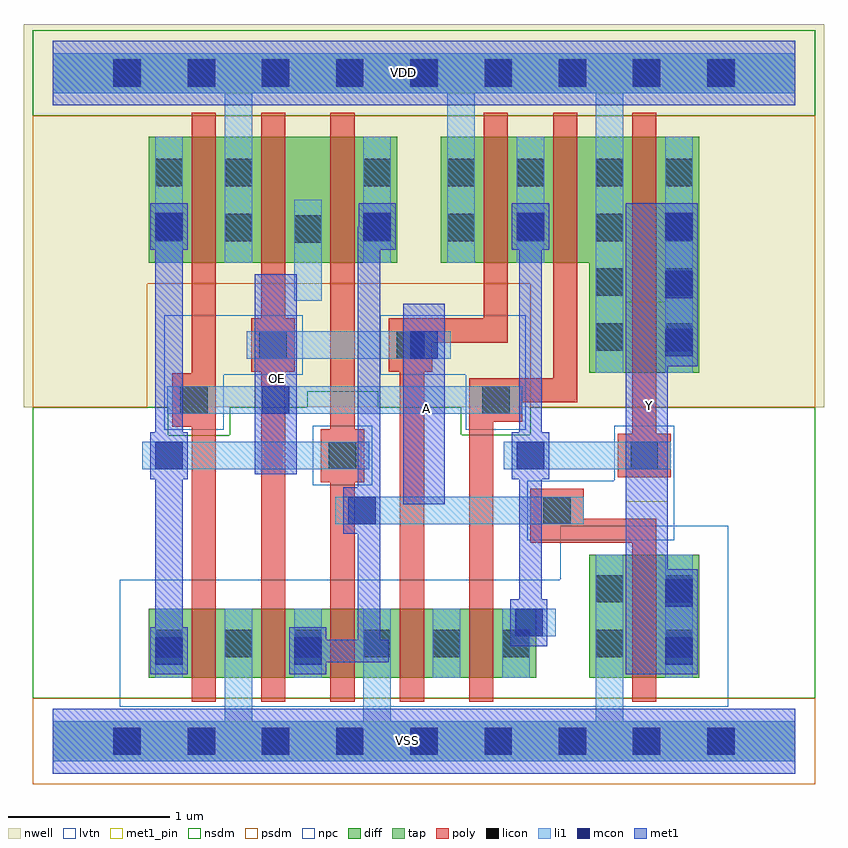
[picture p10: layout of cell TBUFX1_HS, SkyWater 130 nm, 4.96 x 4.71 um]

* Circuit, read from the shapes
.subckt TBUFX1_HS A OE VDD VSS Y
XM1 VSS OE n1 VSS sky130_fd_pr__nfet_01v8_lvt w=0.425 l=0.15
XM2 n2 A VSS VSS sky130_fd_pr__nfet_01v8_lvt w=0.425 l=0.15
XM3 VSS n1 n2 VSS sky130_fd_pr__nfet_01v8_lvt w=0.425 l=0.15
XM4 n3 A VSS VSS sky130_fd_pr__nfet_01v8_lvt w=0.425 l=0.15
XM5 n4 OE n3 VSS sky130_fd_pr__nfet_01v8_lvt w=0.425 l=0.15
XM6 Y n2 VSS VSS sky130_fd_pr__nfet_01v8_lvt w=0.76 l=0.15
XM7 VDD OE n1 VDD sky130_fd_pr__pfet_01v8 w=0.78 l=0.15
XM8 n5 A VDD VDD sky130_fd_pr__pfet_01v8 w=0.78 l=0.15
XM9 n2 n1 n5 VDD sky130_fd_pr__pfet_01v8 w=0.78 l=0.15
XM10 n4 A VDD VDD sky130_fd_pr__pfet_01v8 w=0.78 l=0.15
XM11 VDD OE n4 VDD sky130_fd_pr__pfet_01v8 w=0.78 l=0.15
XM12 Y n4 VDD VDD sky130_fd_pr__pfet_01v8 w=1.46 l=0.15
.ends

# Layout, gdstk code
import gdstk
lib = gdstk.Library(unit=1e-6, precision=1e-09)
def R(c, l, rs):  # rectangles x0, y0, x1, y1
    for r in rs: c.add(gdstk.rectangle(r[:2], r[2:], *l))
def A(c, l, x, y, w, h, nx, ny, dx, dy):  # array of equal rectangles
    R(c, l, [(x+i*dx, y+j*dy, x+i*dx+w, y+j*dy+h) for i in range(nx) for j in range(ny)])
def P(c, l, *ps):  # polygons
    for p in ps: c.add(gdstk.Polygon(p, *l))
nwell = (64, 20)
diff = (65, 20)
tap = (65, 44)
poly = (66, 20)
licon = (66, 44)
li1 = (67, 20)
mcon = (67, 44)
met1_pin = (68, 16)
met1 = (68, 20)
nsdm = (93, 44)
psdm = (94, 20)
npc = (95, 20)
lvtn = (125, 44)

pyl1con_c_cdns_758729172 = lib.new_cell('PYL1CON_C_CDNS_758729172862')
R(pyl1con_c_cdns_758729172, poly, [(-0.135,-0.165,0.135,0.165)])
R(pyl1con_c_cdns_758729172, licon, [(-0.085,-0.085,0.085,0.085)])
R(pyl1con_c_cdns_758729172, npc, [(-0.185,-0.185,0.185,0.185)])

l1m1_c_cdns_758729172861 = lib.new_cell('L1M1_C_CDNS_7587291728613')
R(l1m1_c_cdns_758729172861, li1, [(-0.085,-0.525,0.085,0.525)])
A(l1m1_c_cdns_758729172861, mcon, -0.085, -0.445, 0.17, 0.17, 1, 3, 0, 0.36)
R(l1m1_c_cdns_758729172861, met1, [(-0.115,-0.505,0.115,0.505)])

c_pyl1con_c_cdns_758729172 = lib.new_cell('PYL1CON_C_CDNS_7587291728616')
R(c_pyl1con_c_cdns_758729172, poly, [(-0.165,-0.135,0.165,0.135)])
R(c_pyl1con_c_cdns_758729172, licon, [(-0.085,-0.085,0.085,0.085)])
R(c_pyl1con_c_cdns_758729172, npc, [(-0.185,-0.185,0.185,0.185)])

l1m1_c_cdns_758729172864 = lib.new_cell('L1M1_C_CDNS_758729172864')
R(l1m1_c_cdns_758729172864, li1, [(-0.085,-0.345,0.085,0.345)])
R(l1m1_c_cdns_758729172864, mcon, [(-0.085,-0.265,0.085,-0.095), (-0.085,0.095,0.085,0.265)])
R(l1m1_c_cdns_758729172864, met1, [(-0.115,-0.325,0.115,0.325)])

c_l1m1_c_cdns_758729172861 = lib.new_cell('L1M1_C_CDNS_758729172861')
R(c_l1m1_c_cdns_758729172861, li1, [(-0.085,-0.165,0.085,0.165)])
R(c_l1m1_c_cdns_758729172861, mcon, [(-0.085,-0.085,0.085,0.085)])
R(c_l1m1_c_cdns_758729172861, met1, [(-0.115,-0.145,0.115,0.145)])

l1m1_c_cdns_758729172860 = lib.new_cell('L1M1_C_CDNS_758729172860')
R(l1m1_c_cdns_758729172860, li1, [(-0.165,-0.085,0.165,0.085)])
R(l1m1_c_cdns_758729172860, mcon, [(-0.085,-0.085,0.085,0.085)])
R(l1m1_c_cdns_758729172860, met1, [(-0.115,-0.145,0.115,0.145)])

licondiff_c_cdns_7587291 = lib.new_cell('LICONDIFF_C_CDNS_7587291728611')
R(licondiff_c_cdns_7587291, diff, [(-0.125,-0.145,0.125,0.145)])
R(licondiff_c_cdns_7587291, licon, [(-0.085,-0.085,0.085,0.085), (-0.085,-0.085,0.085,0.085)])

tbufx1_hs = lib.new_cell('TBUFX1_HS')
R(tbufx1_hs, nwell, [(-0.18,2.07,4.78,4.445)])
R(tbufx1_hs, diff, [(0.595,0.395,2.995,0.82), (3.325,0.395,4.005,1.155), (0.595,2.965,2.135,3.745)])
P(tbufx1_hs, diff, [(4.005,3.745),(2.405,3.745),(2.405,2.965),(3.325,2.965),(3.325,2.285),(4.005,2.285)])
A(tbufx1_hs, poly, 0.86, 0.245, 0.15, 3.65, 3, 1, 0.43, 0)
R(tbufx1_hs, poly, [(3.59,1.685,3.74,3.895)])
P(tbufx1_hs, poly, [(2.82,3.895),(2.67,3.895),(2.67,2.62),(2.225,2.62),(2.225,2.58),(2.15,2.58),(2.15,0.245),(2.3,0.245),(2.3,2.47),(2.82,2.47)],
  [(3.25,3.895),(3.1,3.895),(3.1,2.25),(2.58,2.25),(2.58,0.245),(2.73,0.245),(2.73,2.1),(3.25,2.1)],
  [(3.74,1.38),(2.96,1.38),(2.96,1.23),(3.59,1.23),(3.59,0.245),(3.74,0.245)])
A(tbufx1_hs, licon, 0.375, -0.085, 0.17, 0.17, 9, 2, 0.46, 4.14)
A(tbufx1_hs, licon, 0.635, 0.52, 0.17, 0.17, 4, 1, 0.43, 0)
A(tbufx1_hs, licon, 3.365, 2.42, 0.17, 0.17, 1, 4, 0, 0.34)
A(tbufx1_hs, licon, 3.795, 2.42, 0.17, 0.17, 1, 4, 0, 0.34)
R(tbufx1_hs, licon, [(2.785,0.52,2.955,0.69), (3.365,0.52,3.535,0.69), (3.795,0.52,3.965,0.69), (3.365,0.86,3.535,1.03), (3.795,0.86,3.965,1.03), (0.635,3.1,0.805,3.27), (1.065,3.1,1.235,3.27), (1.925,3.1,2.095,3.27), (2.445,3.1,2.615,3.27), (2.875,3.1,3.045,3.27), (0.635,3.44,0.805,3.61), (1.065,3.44,1.235,3.61), (1.925,3.44,2.095,3.61), (2.445,3.44,2.615,3.61), (2.875,3.44,3.045,3.61)])
R(tbufx1_hs, li1, [(0.635,0.395,0.805,0.82), (1.495,0.395,1.665,0.82), (2.785,0.395,2.955,0.82), (3.795,0.395,3.965,1.155), (3.795,2.285,3.965,3.745), (0.635,2.965,0.805,3.745), (1.925,2.965,2.095,3.745), (2.875,2.965,3.045,3.745)])
P(tbufx1_hs, li1, [(4.6,4.265),(0,4.265),(0,4.015),(1.065,4.015),(1.065,2.965),(1.235,2.965),(1.235,4.015),(2.445,4.015),(2.445,2.965),(2.615,2.965),(2.615,4.015),(3.365,4.015),(3.365,2.285),(3.535,2.285),(3.535,4.015),(4.6,4.015)],
  [(4.6,0.125),(3.535,0.125),(3.535,1.155),(3.365,1.155),(3.365,0.125),(2.095,0.125),(2.095,0.82),(1.925,0.82),(1.925,0.125),(1.235,0.125),(1.235,0.82),(1.065,0.82),(1.065,0.125),(0,0.125),(0,-0.125),(4.6,-0.125)])
A(tbufx1_hs, mcon, 0.375, -0.085, 0.17, 0.17, 9, 2, 0.46, 4.14)
R(tbufx1_hs, met1_pin, [(2.17,1.47,2.43,2.71), (3.55,1.485,3.81,2.725), (1.25,1.655,1.51,2.895)])
P(tbufx1_hs, met1, [(2.08,0.63),(2.03,0.63),(2.03,3.19),(1.89,3.19),(1.89,0.63),(1.58,0.63),(1.58,0.49),(2.08,0.49)])
R(tbufx1_hs, nsdm, [(-0.125,3.875,4.725,4.405)])
P(tbufx1_hs, nsdm, [(4.725,2.07),(2.96,2.07),(2.96,1.9),(2.53,1.9),(2.53,2.07),(2.015,2.07),(2.015,2.17),(1.575,2.17),(1.575,2.07),(1.095,2.07),(1.095,1.895),(0.715,1.895),(0.715,2.07),(-0.125,2.07),(-0.125,0.265),(4.725,0.265)])
R(tbufx1_hs, psdm, [(-0.125,-0.265,4.725,0.265)])
P(tbufx1_hs, psdm, [(4.725,3.875),(-0.125,3.875),(-0.125,2.07),(0.585,2.07),(0.585,2.835),(2.96,2.835),(2.96,2.07),(4.725,2.07)])
R(tbufx1_hs, npc, [(0.69,2.27,1.55,2.64), (2.03,2.27,2.93,2.64)])
P(tbufx1_hs, npc, [(3.85,1.955),(3.48,1.955),(3.48,1.615),(2.94,1.615),(2.94,1.245),(3.85,1.245)])
P(tbufx1_hs, lvtn, [(4.185,1.335),(3.145,1.335),(3.145,1),(0.415,1),(0.415,0.215),(4.185,0.215)])
tbufx1_hs.add(gdstk.FlexPath([(1.58,2.73),(1.58,3.355)], 0.17, ends="flush", simple_path=True, layer=67, datatype=20))  # li1
tbufx1_hs.add(gdstk.FlexPath([(2.96,1.77),(3.83,1.77)], 0.17, ends="flush", simple_path=True, layer=67, datatype=20))  # li1
tbufx1_hs.add(gdstk.FlexPath([(3.29,1.43),(2.01,1.43)], 0.17, ends="flush", simple_path=True, layer=67, datatype=20))  # li1
tbufx1_hs.add(gdstk.FlexPath([(1.96,1.77),(0.72,1.77)], 0.17, ends="flush", simple_path=True, layer=67, datatype=20))  # li1
tbufx1_hs.add(gdstk.FlexPath([(2.44,0.395),(2.44,0.82)], 0.17, ends="flush", simple_path=True, layer=67, datatype=20))  # li1
tbufx1_hs.add(gdstk.FlexPath([(2.91,2.115),(0.71,2.115)], 0.17, ends="flush", simple_path=True, layer=67, datatype=20))  # li1
tbufx1_hs.add(gdstk.FlexPath([(2.45,2.455),(1.2,2.455)], 0.17, ends="flush", simple_path=True, layer=67, datatype=20))  # li1
tbufx1_hs.add(gdstk.FlexPath([(0,4.14),(4.6,4.14)], 0.25, ends="flush", simple_path=True, layer=65, datatype=44))  # tap
tbufx1_hs.add(gdstk.FlexPath([(0,0),(4.6,0)], 0.25, ends="flush", simple_path=True, layer=65, datatype=44))  # tap
tbufx1_hs.add(gdstk.FlexPath([(0,0),(4.6,0)], 0.4, ends="flush", simple_path=True, layer=68, datatype=16))  # met1_pin
tbufx1_hs.add(gdstk.FlexPath([(0,4.14),(4.6,4.14)], 0.4, ends="flush", simple_path=True, layer=68, datatype=16))  # met1_pin
tbufx1_hs.add(gdstk.FlexPath([(0,4.14),(4.6,4.14)], 0.4, ends="flush", simple_path=True, layer=68, datatype=20))  # met1
tbufx1_hs.add(gdstk.FlexPath([(0,0),(4.6,0)], 0.4, ends="flush", simple_path=True, layer=68, datatype=20))  # met1
tbufx1_hs.add(gdstk.FlexPath([(1.38,1.655),(1.38,2.895)], 0.26, ends="flush", simple_path=True, layer=68, datatype=20))  # met1
tbufx1_hs.add(gdstk.FlexPath([(3.68,0.415),(3.68,3.335)], 0.26, ends="flush", simple_path=True, layer=68, datatype=20))  # met1
tbufx1_hs.add(gdstk.FlexPath([(0.72,0.56),(0.72,3.19)], 0.17, ends="flush", simple_path=True, layer=68, datatype=20))  # met1
tbufx1_hs.add(gdstk.FlexPath([(2.3,1.47),(2.3,2.71)], 0.26, ends="flush", simple_path=True, layer=68, datatype=20))  # met1
tbufx1_hs.add(gdstk.FlexPath([(2.96,0.735),(2.96,3.19)], 0.14, ends="flush", simple_path=True, layer=68, datatype=20))  # met1
tbufx1_hs.add(gdstk.Reference(pyl1con_c_cdns_758729172, (1.795,1.77), x_reflection=True))
tbufx1_hs.add(gdstk.Reference(pyl1con_c_cdns_758729172, (2.215,2.455), x_reflection=True))
tbufx1_hs.add(gdstk.Reference(pyl1con_c_cdns_758729172, (0.875,2.115), x_reflection=True))
tbufx1_hs.add(gdstk.Reference(pyl1con_c_cdns_758729172, (1.365,2.455), x_reflection=True))
tbufx1_hs.add(gdstk.Reference(l1m1_c_cdns_758729172861, (3.88,2.83)))
tbufx1_hs.add(gdstk.Reference(c_pyl1con_c_cdns_758729172, (3.125,1.43), x_reflection=True))
tbufx1_hs.add(gdstk.Reference(c_pyl1con_c_cdns_758729172, (3.665,1.77), x_reflection=True))
tbufx1_hs.add(gdstk.Reference(c_pyl1con_c_cdns_758729172, (2.745,2.115), x_reflection=True))
tbufx1_hs.add(gdstk.Reference(l1m1_c_cdns_758729172864, (3.88,0.74)))
tbufx1_hs.add(gdstk.Reference(c_l1m1_c_cdns_758729172861, (0.72,3.19)))
tbufx1_hs.add(gdstk.Reference(c_l1m1_c_cdns_758729172861, (0.72,0.56)))
tbufx1_hs.add(gdstk.Reference(c_l1m1_c_cdns_758729172861, (2.01,3.19)))
tbufx1_hs.add(gdstk.Reference(c_l1m1_c_cdns_758729172861, (2.96,3.19)))
tbufx1_hs.add(gdstk.Reference(c_l1m1_c_cdns_758729172861, (1.58,0.56)))
tbufx1_hs.add(gdstk.Reference(l1m1_c_cdns_758729172860, (1.38,2.115), x_reflection=True))
tbufx1_hs.add(gdstk.Reference(l1m1_c_cdns_758729172860, (2.95,0.735)))
tbufx1_hs.add(gdstk.Reference(l1m1_c_cdns_758729172860, (2.96,1.77)))
tbufx1_hs.add(gdstk.Reference(l1m1_c_cdns_758729172860, (0.72,1.77)))
tbufx1_hs.add(gdstk.Reference(l1m1_c_cdns_758729172860, (2.3,2.455), x_reflection=True))
tbufx1_hs.add(gdstk.Reference(l1m1_c_cdns_758729172860, (1.915,1.43)))
tbufx1_hs.add(gdstk.Reference(licondiff_c_cdns_7587291, (1.58,3.175)))
tbufx1_hs.add(gdstk.Reference(licondiff_c_cdns_7587291, (2.44,0.605)))
tbufx1_hs.add(gdstk.Label('VDD', (2.175,4.145), layer=68, texttype=5))
tbufx1_hs.add(gdstk.Label('OE', (1.395,2.25), layer=68, texttype=5))
tbufx1_hs.add(gdstk.Label('Y', (3.695,2.08), layer=68, texttype=5))
tbufx1_hs.add(gdstk.Label('A', (2.315,2.065), layer=68, texttype=5))
tbufx1_hs.add(gdstk.Label('VSS', (2.195,0.005), layer=68, texttype=5))

lib.write_gds('TBUFX1_HS.gds')
